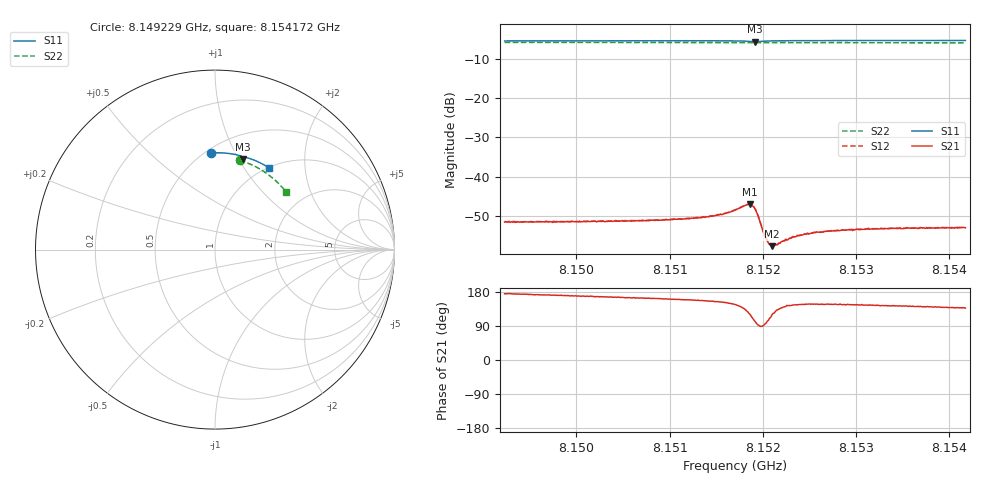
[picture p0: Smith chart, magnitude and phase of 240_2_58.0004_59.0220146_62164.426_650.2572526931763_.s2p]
#  HZ  S  RI  R  50.00
! Rohde & Schwarz Vector Network Analyzer
! Rohde-Schwarz,ZNB20-2Port,1311601062101988,3.16
! Created: UTC 3/21/2024, 1:01:01 AM
! freq[Hz]  re:S11  im:S11  re:S21  im:S21  re:S12  im:S12  re:S22  im:S22
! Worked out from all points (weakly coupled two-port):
!   401 points, 8.149229 GHz to 8.154172 GHz, reference 50 ohm
!   highest |S21| = -47.07 dB at 8.151861 GHz (marker M1); lowest = -57.8 dB at 8.152096 GHz (marker M2)
!   lowest |S11| = -5.5 dB at 8.151911 GHz (marker M3), VSWR 3.24, Z = 37.3 + j52.2 ohm
!   |S11| at or under -10 dB: nowhere
!   |S22| runs from -5.9 to -5.7 dB; largest |S21 - S12| = 0.00011
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8.149229e9  -0.024 0.5382  -0.00262 0.000242  -0.00266 0.000264  0.1378 0.4971
8.150057e9  0.034 0.5389  -0.00261 0.000542  -0.00265 0.000559  0.1885 0.4793
8.150885e9  0.0918 0.5334  -0.00264 0.000869  -0.00266 0.00094  0.2367 0.4562
8.1514041e9  0.1285 0.5264  -0.0028 0.00126  -0.00281 0.00132  0.2657 0.4393
8.1515771e9  0.1414 0.5226  -0.00296 0.00155  -0.00296 0.00163  0.275 0.4331
8.1517007e9  0.1509 0.5185  -0.00313 0.00206  -0.0031 0.00214  0.2818 0.4286
8.1518119e9  0.1586 0.5114  -0.00292 0.00314  -0.00291 0.00321  0.2875 0.4243
8.1518614e9  0.1591 0.5066  -0.00224 0.00382  -0.00218 0.00391  0.2899 0.4225
8.1518861e9  0.158 0.505  -0.00159 0.00397  -0.00152 0.00404  0.2911 0.4214
8.1519108e9  0.1562 0.5045  -0.000906 0.00386  -0.000837 0.00389  0.2923 0.4205
8.1519479e9  0.1544 0.5064  -0.000131 0.00317  -8.35e-05 0.00318  0.294 0.4194
8.1520097e9  0.157 0.5112  -7.66e-05 0.00189  5.59e-06 0.0019  0.2972 0.4174
8.1520344e9  0.1591 0.5123  -0.000204 0.00159  -0.000193 0.00161  0.2985 0.4164
8.1520715e9  0.1625 0.5132  -0.000467 0.00128  -0.000458 0.00129  0.3006 0.4151
8.1520962e9  0.1647 0.5135  -0.000626 0.00113  -0.0006 0.00118  0.3018 0.4141
8.152158e9  0.1701 0.5132  -0.000918 0.00101  -0.000898 0.00101  0.305 0.4117
8.1522198e9  0.1752 0.5125  -0.00115 0.000978  -0.00114 0.000987  0.3082 0.4093
8.1523433e9  0.1847 0.5103  -0.00141 0.000959  -0.00139 0.001  0.3145 0.4044
8.1525287e9  0.1978 0.5062  -0.00161 0.00101  -0.00158 0.00104  0.3235 0.3968
8.1528253e9  0.2176 0.4986  -0.00173 0.00109  -0.00172 0.00114  0.3379 0.3842
8.1533568e9  0.2516 0.4834  -0.00173 0.00132  -0.00175 0.00132  0.3621 0.3606
8.1541724e9  0.301 0.4558  -0.00163 0.00151  -0.00165 0.00155  0.3957 0.3214
